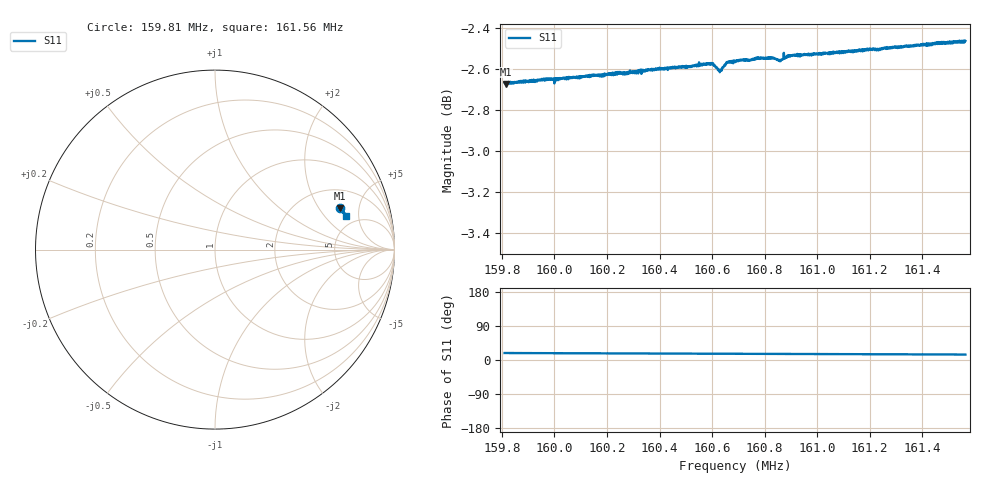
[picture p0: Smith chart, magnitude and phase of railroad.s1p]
! Calibrated averaged scanner-service zoom
# Hz S RI R 50
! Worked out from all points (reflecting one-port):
!   1001 points, 159.81 MHz to 161.56 MHz, reference 50 ohm
!   lowest |S11| = -2.7 dB at 159.81 MHz (marker M1), VSWR 6.55, Z = 158 + j160 ohm
!   phase of S11 starts at 18 deg and turns -4 deg over the sweep
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1.5981e8  0.6979 0.2322
1.598135e8  0.6974 0.232
1.599732e8  0.701 0.228
1.600294e8  0.7015 0.2267
1.602488e8  0.706 0.2218
1.602751e8  0.7053 0.2208
1.603628e8  0.7079 0.2191
1.604681e8  0.7094 0.2163
1.605962e8  0.7124 0.2134
1.606103e8  0.7113 0.2133
1.606226e8  0.7093 0.2135
1.606296e8  0.7084 0.2136
1.606366e8  0.7092 0.2132
1.606542e8  0.7129 0.2119
1.606612e8  0.7136 0.2116
1.606875e8  0.7135 0.211
1.607437e8  0.7146 0.2094
1.60777e8  0.7158 0.2087
1.608244e8  0.7161 0.2073
1.608595e8  0.7163 0.2039
1.608876e8  0.7174 0.2054
1.609069e8  0.7181 0.2051
1.611262e8  0.7218 0.1994
1.611912e8  0.7231 0.1976
1.612351e8  0.7229 0.1965
1.612596e8  0.7243 0.1959
1.613456e8  0.7254 0.1936
1.61565e8  0.7293 0.1876
